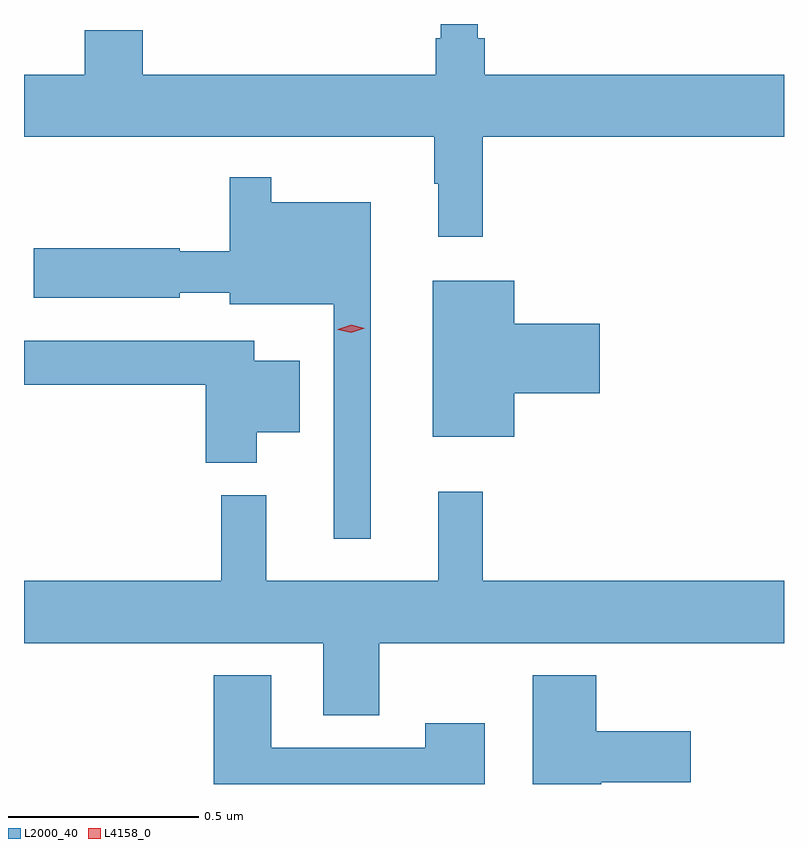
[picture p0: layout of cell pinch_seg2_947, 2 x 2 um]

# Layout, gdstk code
import gdstk
lib = gdstk.Library(unit=1e-6, precision=1e-09)
def P(c, l, *ps):  # polygons
    for p in ps: c.add(gdstk.Polygon(p, *l))
L2000_40 = (2000, 40)
L4158_0 = (4158, 0)

pinch_seg2_947 = lib.new_cell('pinch_seg2_947')
P(pinch_seg2_947, L2000_40, [(544.016,637.144),(543.244,637.144),(543.244,637.261),(543.092,637.261),(543.092,637.144),(542.932,637.144),(542.932,636.98),(544.011,636.98),(544.011,636.857),(544.022,636.857),(544.022,636.717),(544.139,636.717),(544.139,636.98),(544.932,636.98),(544.932,637.144),(544.145,637.144),(544.145,637.24),(544.126,637.24),(544.126,637.277),(544.029,637.277),(544.029,637.24),(544.016,637.24)],
  [(543.844,636.808),(543.583,636.808),(543.583,636.874),(543.473,636.874),(543.473,636.679),(543.342,636.679),(543.342,636.687),(542.958,636.687),(542.958,636.557),(543.342,636.557),(543.342,636.57),(543.473,636.57),(543.473,636.539),(543.747,636.539),(543.747,635.922),(543.844,635.922)],
  [(544.222,636.305),(544.447,636.305),(544.447,636.488),(544.222,636.488),(544.222,636.601),(544.007,636.601),(544.007,636.191),(544.222,636.191)],
  [(543.544,636.203),(543.658,636.203),(543.658,636.391),(543.538,636.391),(543.538,636.444),(542.932,636.444),(542.932,636.328),(543.41,636.328),(543.41,636.122),(543.544,636.122)],
  [(543.867,635.648),(544.932,635.648),(544.932,635.812),(544.139,635.812),(544.139,636.046),(544.022,636.046),(544.022,635.812),(543.569,635.812),(543.569,636.037),(543.451,636.037),(543.451,635.812),(542.932,635.812),(542.932,635.648),(543.719,635.648),(543.719,635.458),(543.867,635.458)],
  [(544.144,635.437),(543.988,635.437),(543.988,635.373),(543.583,635.373),(543.583,635.563),(543.431,635.563),(543.431,635.277),(544.144,635.277)],
  [(544.451,635.282),(544.687,635.282),(544.687,635.416),(544.438,635.416),(544.438,635.563),(544.271,635.563),(544.271,635.277),(544.451,635.277)])
P(pinch_seg2_947, L4158_0, [(543.793,636.465),(543.758,636.473),(543.757,636.473),(543.758,636.474),(543.793,636.485),(543.829,636.476),(543.829,636.476),(543.829,636.476)])

lib.write_gds('pinch_seg2_947.gds')
